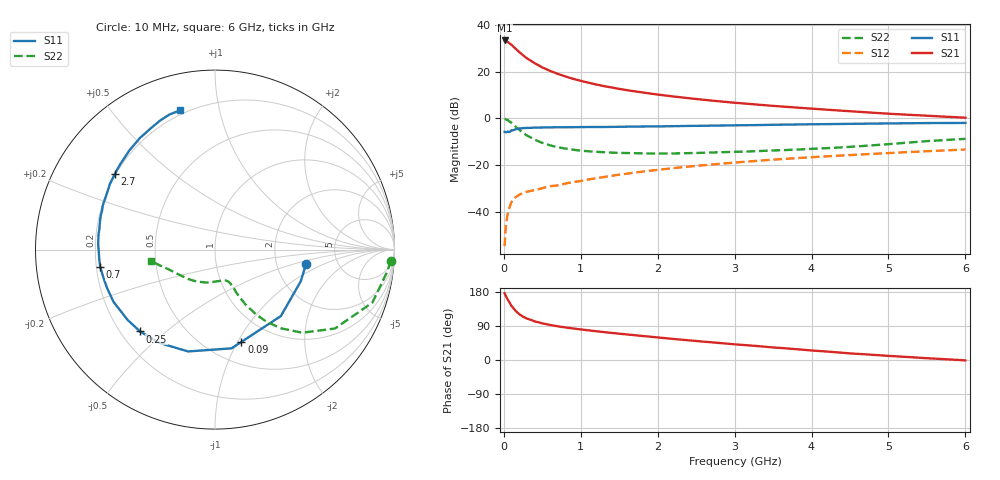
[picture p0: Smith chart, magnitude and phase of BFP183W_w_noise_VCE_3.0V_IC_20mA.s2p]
! Infineon Technologies  Discrete & RF Semiconductors
! BFP183W
! VCE =  3.0 V,  IC =  20 mA
! Common Emitter S-Parameters:  Jan 2017
# GHz  S  MA  R  50
!  f  S11  S21  S12  S22
! GHz  MAG  ANG  MAG  ANG  MAG  ANG  MAG  ANG
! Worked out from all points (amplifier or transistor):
!   77 points, 10 MHz to 6 GHz, reference 50 ohm
!   highest |S21| = 33.5 dB at 10 MHz (marker M1)
!   |S21| within 3 dB of that: start of sweep to 135.4 MHz
!   unconditionally stable (mu >= 1): 1.133 GHz to 3.673 GHz
!   at 130 MHz: K = 0.24, MSG = 32.7 dB, |S12| = -34.7 dB
!   at 2.2 GHz: K = 1.07, MAG = 13.8 dB, |S12| = -21.4 dB
!   at 6 GHz: K = 0.87, MSG = 6.8 dB, |S12| = -13.4 dB
!   lowest NFmin = 1.17 dB at 450 MHz
!   S11 on the Smith chart (normalised r, x): 10 MHz: 2.95, -0.64; 90 MHz: 0.72, -1.04; 250 MHz: 0.28, -0.41; 700 MHz: 0.22, -0.07; 2.7 GHz: 0.20, +0.32; 6 GHz: 0.18, +0.76
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0.01  0.5134 -9.0  47.31 176.4  0.0018 95.4  0.9818 -3.7
0.02  0.5095 -20.3  46.87 171.4  0.0037 91.5  0.9657 -7.6
0.05  0.5213 -45.3  44.24 159.4  0.0089 72.7  0.9253 -18.6
0.09  0.5348 -74.0  38.99 146.2  0.0146 63.7  0.8206 -30.0
0.1  0.5578 -80.5  38.06 142.4  0.016 62.4  0.8003 -33.3
0.15  0.5869 -104.8  31.85 130.1  0.0202 52.9  0.6719 -43.6
0.2  0.6052 -120.8  26.64 121.0  0.0228 48.2  0.5698 -50.2
0.25  0.6185 -132.5  22.69 114.2  0.0253 46.3  0.4909 -54.6
0.3  0.6251 -141.3  19.58 109.3  0.0266 44.4  0.4303 -57.5
0.4  0.6361 -152.8  15.33 101.9  0.0288 44.8  0.349 -61.0
0.5  0.6386 -160.8  12.48 96.7  0.0317 45.0  0.2983 -62.6
0.6  0.6417 -166.7  10.53 92.5  0.035 47.8  0.2643 -63.7
0.7  0.6466 -171.5  9.07 89.1  0.0363 50.1  0.2404 -64.0
0.9  0.6478 -179.1  7.095 83.2  0.0427 52.2  0.2128 -65.3
1.1  0.6527 175.1  5.846 78.3  0.0488 54.5  0.1971 -66.7
1.5  0.661 165.5  4.308 69.5  0.062 56.7  0.1816 -71.6
2.1  0.6774 153.4  3.111 57.6  0.0819 57.4  0.1767 -83.8
2.7  0.6987 143.0  2.419 46.7  0.1022 55.9  0.185 -99.4
3.1  0.7129 136.8  2.106 39.9  0.1159 54.2  0.1935 -109.9
4.1  0.7516 122.8  1.581 23.7  0.15 48.9  0.2255 -135.2
5.1  0.7835 112.2  1.237 9.7  0.1835 43.0  0.2884 -158.5
6  0.8001 104.1  1.035 -1.1  0.215 37.0  0.3641 -170.3
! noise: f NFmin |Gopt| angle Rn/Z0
0.45  1.17  0.2  171  0.1
0.9  1.2  0.25  174  0.09
1.9  1.68  0.41  -163  0.08
2.4  1.92  0.45  -157  0.12
